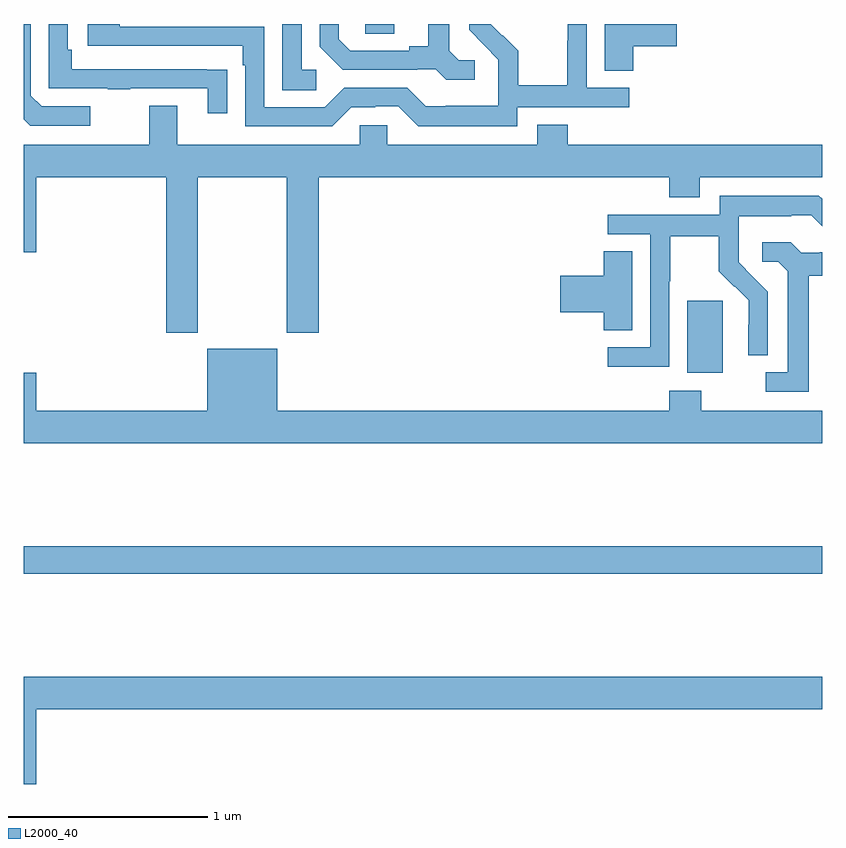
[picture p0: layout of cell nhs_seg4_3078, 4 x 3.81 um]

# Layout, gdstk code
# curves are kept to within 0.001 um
import gdstk
lib = gdstk.Library(unit=1e-6, precision=1e-09)
def R(c, l, rs):  # rectangles x0, y0, x1, y1
    for r in rs: c.add(gdstk.rectangle(r[:2], r[2:], *l))
def P(c, l, *ps):  # polygons
    for p in ps: c.add(gdstk.Polygon(p, *l))
L2000_40 = (2000, 40)

nhs_seg4_3078 = lib.new_cell('nhs_seg4_3078')
R(nhs_seg4_3078, L2000_40, [(273,816.148,277,816.284), (276.323,817.154,276.502,817.515), (274.71,818.851,274.855,818.9)])
P(nhs_seg4_3078, L2000_40, [(274.465,818.67),(274.392,818.67),(274.392,818.9),(274.296,818.9),(274.296,818.569),(274.465,818.569)],
  [(275.26,818.718),(275.178,818.718),(275.131,818.765),(275.131,818.9),(275.027,818.9),(275.027,818.789),(274.931,818.789),(274.931,818.766),(274.636,818.766),(274.579,818.823),(274.579,818.9),(274.482,818.9),(274.482,818.786),(274.598,818.67),(274.97,818.67),(274.97,818.673),(275.064,818.673),(275.116,818.621),(275.26,818.621)],
  [(273.334,818.487),(273.09,818.487),(273.036,818.541),(273.036,818.9),(273,818.9),(273,818.424),(273.033,818.391),(273.334,818.391)],
  [(274.019,818.672),(273.917,818.672),(273.917,818.673),(273.242,818.673),(273.242,818.77),(273.222,818.77),(273.222,818.9),(273.126,818.9),(273.126,818.577),(273.421,818.577),(273.421,818.572),(273.533,818.572),(273.533,818.577),(273.923,818.577),(273.923,818.454),(274.019,818.454)],
  [(276.053,818.789),(276.271,818.789),(276.271,818.9),(275.909,818.9),(275.909,818.665),(276.053,818.665)],
  [(275.472,818.484),(276.034,818.484),(276.034,818.58),(275.82,818.58),(275.82,818.9),(275.724,818.9),(275.724,818.816),(275.722,818.816),(275.722,818.593),(275.477,818.593),(275.477,818.767),(275.4,818.844),(275.397,818.841),(275.339,818.9),(275.232,818.9),(275.232,818.87),(275.378,818.722),(275.378,818.625),(275.376,818.625),(275.376,818.491),(275.113,818.491),(275.113,818.487),(275.013,818.487),(274.92,818.58),(274.605,818.58),(274.509,818.484),(274.206,818.484),(274.206,818.886),(273.482,818.886),(273.482,818.9),(273.321,818.9),(273.321,818.79),(274.097,818.79),(274.097,818.693),(274.11,818.693),(274.11,818.388),(274.545,818.388),(274.641,818.484),(274.76,818.484),(274.76,818.487),(274.875,818.487),(274.975,818.387),(275.472,818.387)],
  [(273.873,818.132),(274.318,818.132),(274.318,817.353),(274.478,817.353),(274.478,818.132),(276.233,818.132),(276.233,818.033),(276.385,818.033),(276.385,818.132),(277,818.132),(277,818.296),(275.726,818.296),(275.726,818.395),(275.573,818.395),(275.573,818.296),(274.821,818.296),(274.821,818.394),(274.683,818.394),(274.683,818.296),(273.769,818.296),(273.769,818.491),(273.629,818.491),(273.629,818.296),(273,818.296),(273,817.758),(273.064,817.758),(273.064,818.132),(273.713,818.132),(273.713,817.353),(273.873,817.353)],
  [(276.234,817.612),(276.237,817.612),(276.237,817.836),(276.481,817.836),(276.481,817.661),(276.558,817.584),(276.561,817.587),(276.632,817.517),(276.632,817.394),(276.63,817.394),(276.63,817.24),(276.726,817.24),(276.726,817.558),(276.58,817.706),(276.58,817.803),(276.582,817.803),(276.582,817.937),(276.845,817.937),(276.845,817.941),(276.945,817.941),(277,817.886),(277,818.024),(276.983,818.041),(276.486,818.041),(276.486,817.944),(275.925,817.944),(275.925,817.848),(276.138,817.848),(276.138,817.281),(275.925,817.281),(275.925,817.183),(276.234,817.183)],
  [(276.931,817.64),(277,817.64),(277,817.758),(276.988,817.758),(276.988,817.755),(276.894,817.755),(276.842,817.807),(276.699,817.807),(276.699,817.71),(276.78,817.71),(276.827,817.663),(276.827,817.155),(276.717,817.155),(276.717,817.059),(276.931,817.059)],
  [(276.049,817.763),(275.906,817.763),(275.906,817.64),(275.688,817.64),(275.688,817.457),(275.906,817.457),(275.906,817.366),(276.049,817.366)],
  [(277,816.964),(276.393,816.964),(276.393,817.063),(276.233,817.063),(276.233,816.964),(274.27,816.964),(274.27,817.273),(273.92,817.273),(273.92,816.964),(273.064,816.964),(273.064,817.153),(273,817.153),(273,816.8),(277,816.8)],
  [(273.064,815.468),(277,815.468),(277,815.632),(273,815.632),(273,815.094),(273.064,815.094)])

lib.write_gds('nhs_seg4_3078.gds')
